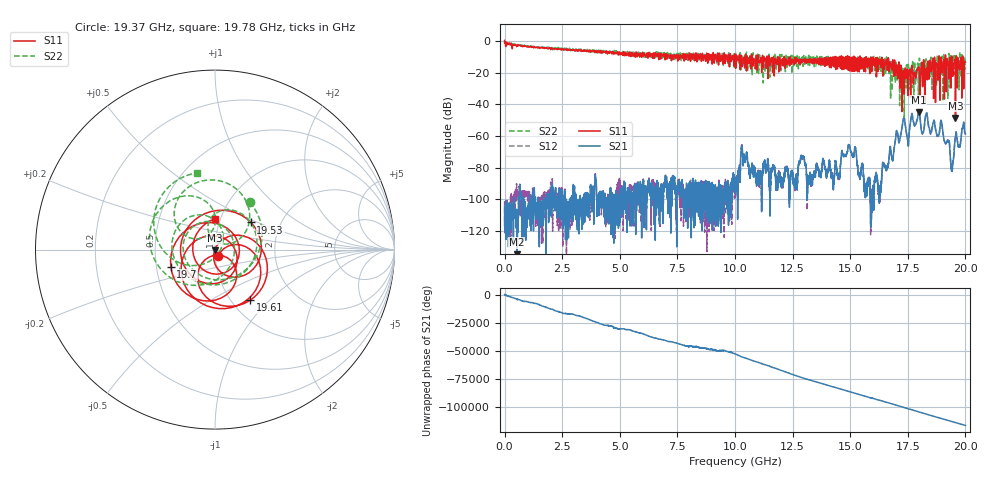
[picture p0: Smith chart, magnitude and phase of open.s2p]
! MS46122B
! 2250307/22442219
! 2/24/2026 9:14:51 AM
! C:\USERS\SPARKY\DOCUMENTS\VNA_DATA\FEB24_2026\WARM-PORT1-CABLE\OPEN.S2P
! CHANNEL.1
! TR.MEASUREMENT
! RAW.DATA
# GHZ S RI R 50.0
! FREQ.GHZ  S11RE  S11IM  S21RE  S21IM  S12RE  S12IM  S22RE  S22IM
!; PortSelection: Port_12
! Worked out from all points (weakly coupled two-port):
!   10001 points, 1 MHz to 20 GHz, reference 50 ohm
!   highest |S21| = -44.74 dB at 17.98 GHz (marker M1); lowest = -137.0 dB at 537 MHz (marker M2)
!   lowest |S11| = -48.6 dB at 19.57 GHz (marker M3), VSWR 1.01, Z = 49.8 - j0.32 ohm
!   |S11| at or under -10 dB: 11.48 GHz to 11.86 GHz (377.8 MHz wide, 3.24 % of centre); 12.4 GHz to 14.34 GHz (1.932 GHz wide, 14.4 % of centre); 15.7 GHz to 18.85 GHz (3.145 GHz wide, 18.2 % of centre) (the widest 3 of 72)
!   |S22| runs from -50.8 to -0.1 dB; largest |S21 - S12| = 0.0025
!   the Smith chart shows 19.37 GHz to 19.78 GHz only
!   S11 on the Smith chart (normalised r, x): 19.37 GHz: 1.03, -0.08; 19.53 GHz: 1.41, +0.46; 19.61 GHz: 1.21, -0.78; 19.7 GHz: 0.60, -0.12; 19.78 GHz: 0.94, +0.33
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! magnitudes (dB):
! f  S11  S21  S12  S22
! 1 MHz  0.4  -104.4  -114.2  -0.2
! 537 MHz  -3.4  -137.0  -94.7  -2.2
! 3.335 GHz  -5.6  -106.9  -105.2  -6.4
! 6.669 GHz  -8.1  -99.1  -92.7  -8.2
! 10 GHz  -8.4  -92.6  -91.5  -8.7
! 10.34 GHz  -11.8  -78.5  -77.2  -15.2
! 13.33 GHz  -11.4  -87.7  -86.3  -10.5
! 14.49 GHz  -11.5  -84.4  -86.3  -14.3
! 14.96 GHz  -9.8  -65.9  -65.9  -11.8
! 15.4 GHz  -14.0  -85.9  -84.8  -11.0
! 16.67 GHz  -12.1  -76.9  -76.5  -13.1
! 17.3 GHz  -18.9  -49.6  -49.6  -18.2
! 17.5 GHz  -26.3  -62.8  -62.9  -18.3
! 17.98 GHz  -16.8  -44.7  -44.8  -13.7
! 18.96 GHz  -14.3  -51.1  -51.1  -15.0
! 19.37 GHz  -27.8  -78.0  -78.1  -9.7
! 19.53 GHz  -12.0  -65.4  -65.0  -20.1
! 19.57 GHz  -48.6  -60.3  -60.2  -8.2
! 19.61 GHz  -9.3  -58.7  -58.7  -22.5
! 19.7 GHz  -11.6  -66.7  -66.8  -12.4
! 19.78 GHz  -15.3  -66.2  -65.9  -7.2
! 20 GHz  -13.5  -58.5  -59.0  -18.0
